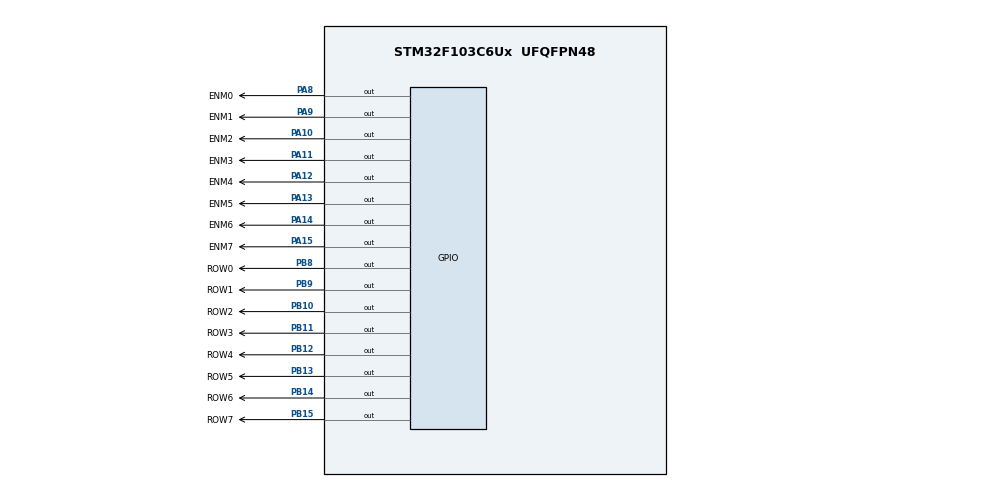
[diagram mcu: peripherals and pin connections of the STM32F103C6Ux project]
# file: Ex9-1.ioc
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Mcu.Family=STM32F1
Mcu.Name=STM32F103C6Ux
Mcu.Package=UFQFPN48
NVIC.PriorityGroup=NVIC_PRIORITYGROUP_4
NVIC.TIM2_IRQn=true\:0\:0\:false\:false\:true\:true\:true
PA10.GPIO_Label=ENM2
PA10.Signal=GPIO_Output
PA11.GPIO_Label=ENM3
PA11.Signal=GPIO_Output
PA12.GPIO_Label=ENM4
PA12.Signal=GPIO_Output
PA13.GPIO_Label=ENM5
PA13.Signal=GPIO_Output
PA14.GPIO_Label=ENM6
PA14.Signal=GPIO_Output
PA15.GPIO_Label=ENM7
PA15.Signal=GPIO_Output
PA8.GPIO_Label=ENM0
PA8.Signal=GPIO_Output
PA9.GPIO_Label=ENM1
PA9.Signal=GPIO_Output
PB10.GPIO_Label=ROW2
PB10.Signal=GPIO_Output
PB11.GPIO_Label=ROW3
PB11.Signal=GPIO_Output
PB12.GPIO_Label=ROW4
PB12.Signal=GPIO_Output
PB13.GPIO_Label=ROW5
PB13.Signal=GPIO_Output
PB14.GPIO_Label=ROW6
PB14.Signal=GPIO_Output
PB15.GPIO_Label=ROW7
PB15.Signal=GPIO_Output
PB8.GPIO_Label=ROW0
PB8.Signal=GPIO_Output
PB9.GPIO_Label=ROW1
PB9.Signal=GPIO_Output
ProjectManager.HeapSize=0x200
ProjectManager.StackSize=0x400
ProjectManager.TargetToolchain=STM32CubeIDE
RCC.APB1Freq_Value=8000000
RCC.APB2Freq_Value=8000000
TIM2.Period=9
TIM2.Prescaler=7999
VP_SYS_VS_ND.Mode=No_Debug
VP_TIM2_VS_ClockSourceINT.Mode=Internal
board=custom

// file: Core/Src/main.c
/* USER CODE BEGIN Header */
/**
  ******************************************************************************
  * @file           : main.c
  * @brief          : Main program body
  ******************************************************************************
  * @attention
  *
  * <h2><center>&copy; Copyright (c) 2022 STMicroelectronics.
  * All rights reserved.</center></h2>
  *
  * This software component is licensed by ST under BSD 3-Clause license,
  * the "License"; You may not use this file except in compliance with the
  * License. You may obtain a copy of the License at:
  *                        opensource.org/licenses/BSD-3-Clause
  *
  ******************************************************************************
  */
/* USER CODE END Header */
#include "main.h"

/* USER CODE BEGIN Includes */
#include "software_timer.h"
/* USER CODE END Includes */

TIM_HandleTypeDef htim2;

void SystemClock_Config(void);
static void MX_GPIO_Init(void);
static void MX_TIM2_Init(void);

/* USER CODE BEGIN 0 */
  int index_matrix =0;
  uint8_t matrix_buffer[8] = {0x18 , 0x3c , 0x66 , 0x66 , 0x7e , 0x7e , 0x66 , 0x66};
  void updateLEDMatrix(int index){
	  switch (index){
	  case 0:
		  HAL_GPIO_WritePin(GPIOB, ROW7_Pin , 1);
		  HAL_GPIO_WritePin(GPIOB, ROW0_Pin , 0);
		  HAL_GPIO_WritePin(GPIOA, (uint16_t)(~matrix_buffer[index])<<8 , 1);
		  HAL_GPIO_WritePin(GPIOA, (uint16_t)matrix_buffer[index]<<8 , 0);
	  	  break;
	  case 1:
		  HAL_GPIO_WritePin(GPIOB, ROW0_Pin, 1);
		  HAL_GPIO_WritePin(GPIOB, ROW1_Pin, 0);
		  HAL_GPIO_WritePin(GPIOA, (uint16_t)(~matrix_buffer[index])<<8 , 1);
		  HAL_GPIO_WritePin(GPIOA, (uint16_t)matrix_buffer[index]<<8 , 0);
		  break;
	  case 2:
		  HAL_GPIO_WritePin(GPIOB, ROW1_Pin, 1);
		  HAL_GPIO_WritePin(GPIOB, ROW2_Pin, 0);
		  HAL_GPIO_WritePin(GPIOA, (uint16_t)(~matrix_buffer[index])<<8 , 1);
		  HAL_GPIO_WritePin(GPIOA, (uint16_t)matrix_buffer[index]<<8 , 0);
		  break;
	  case 3:
		  HAL_GPIO_WritePin(GPIOB, ROW2_Pin, 1);
		  HAL_GPIO_WritePin(GPIOB, ROW3_Pin, 0);
		  HAL_GPIO_WritePin(GPIOA, (uint16_t)(~matrix_buffer[index])<<8 , 1);
		  HAL_GPIO_WritePin(GPIOA, (uint16_t)matrix_buffer[index]<<8 , 0);
		  break;
	  case 4:
		  HAL_GPIO_WritePin(GPIOB, ROW3_Pin, 1);
		  HAL_GPIO_WritePin(GPIOB, ROW4_Pin, 0);
		  HAL_GPIO_WritePin(GPIOA, (uint16_t)(~matrix_buffer[index])<<8 , 1);
		  HAL_GPIO_WritePin(GPIOA, (uint16_t)matrix_buffer[index]<<8 , 0);
		  break;
	  case 5:
		  HAL_GPIO_WritePin(GPIOB, ROW4_Pin, 1);
		  HAL_GPIO_WritePin(GPIOB, ROW5_Pin, 0);
		  HAL_GPIO_WritePin(GPIOA, (uint16_t)(~matrix_buffer[index])<<8 , 1);
		  HAL_GPIO_WritePin(GPIOA, (uint16_t)matrix_buffer[index]<<8 , 0);
		  break;
	  case 6:
		  HAL_GPIO_WritePin(GPIOB, ROW5_Pin, 1);
		  HAL_GPIO_WritePin(GPIOB, ROW6_Pin, 0);
		  HAL_GPIO_WritePin(GPIOA, (uint16_t)(~matrix_buffer[index])<<8 , 1);
		  HAL_GPIO_WritePin(GPIOA, (uint16_t)matrix_buffer[index]<<8 , 0);
		  break;
	  case 7:
		  HAL_GPIO_WritePin(GPIOB, ROW6_Pin, 1);
		  HAL_GPIO_WritePin(GPIOB, ROW7_Pin, 0);
		  HAL_GPIO_WritePin(GPIOA, (uint16_t)(~matrix_buffer[index])<<8 , 1);
		  HAL_GPIO_WritePin(GPIOA, (uint16_t)matrix_buffer[index]<<8 , 0);
		  break;
	  default:
		  break;
	  }
  }
/* USER CODE END 0 */

int main(void)
{

  /* MCU Configuration--------------------------------------------------------*/

  /* Reset of all peripherals, Initializes the Flash interface and the Systick. */
  HAL_Init();

  /* Configure the system clock */
  SystemClock_Config();

  /* Initialize all configured peripherals */
  MX_GPIO_Init();
  MX_TIM2_Init();
  /* USER CODE BEGIN 2 */
  HAL_TIM_Base_Start_IT(&htim2);

  setTimer1(5);
  /* USER CODE END 2 */

  /* Infinite loop */
  while (1)
  {
	  if (timer1_flag == 1){
		  setTimer1(10);
		  updateLEDMatrix(index_matrix);
		  if (index_matrix == 7) index_matrix =0;
		  else index_matrix ++;
	  }
  }
}

void SystemClock_Config(void)
{
  RCC_OscInitTypeDef RCC_OscInitStruct = {0};
  RCC_ClkInitTypeDef RCC_ClkInitStruct = {0};

  /** Initializes the RCC Oscillators according to the specified parameters
  * in the RCC_OscInitTypeDef structure.
  */
  RCC_OscInitStruct.OscillatorType = RCC_OSCILLATORTYPE_HSI;
  RCC_OscInitStruct.HSIState = RCC_HSI_ON;
  RCC_OscInitStruct.HSICalibrationValue = RCC_HSICALIBRATION_DEFAULT;
  RCC_OscInitStruct.PLL.PLLState = RCC_PLL_NONE;
  if (HAL_RCC_OscConfig(&RCC_OscInitStruct) != HAL_OK)
  {
    Error_Handler();
  }
  /** Initializes the CPU, AHB and APB buses clocks
  */
  RCC_ClkInitStruct.ClockType = RCC_CLOCKTYPE_HCLK|RCC_CLOCKTYPE_SYSCLK
                              |RCC_CLOCKTYPE_PCLK1|RCC_CLOCKTYPE_PCLK2;
  RCC_ClkInitStruct.SYSCLKSource = RCC_SYSCLKSOURCE_HSI;
  RCC_ClkInitStruct.AHBCLKDivider = RCC_SYSCLK_DIV1;
  RCC_ClkInitStruct.APB1CLKDivider = RCC_HCLK_DIV1;
  RCC_ClkInitStruct.APB2CLKDivider = RCC_HCLK_DIV1;

  if (HAL_RCC_ClockConfig(&RCC_ClkInitStruct, FLASH_LATENCY_0) != HAL_OK)
  {
    Error_Handler();
  }
}

static void MX_TIM2_Init(void)
{

  TIM_ClockConfigTypeDef sClockSourceConfig = {0};
  TIM_MasterConfigTypeDef sMasterConfig = {0};

  htim2.Instance = TIM2;
  htim2.Init.Prescaler = 7999;
  htim2.Init.CounterMode = TIM_COUNTERMODE_UP;
  htim2.Init.Period = 9;
  htim2.Init.ClockDivision = TIM_CLOCKDIVISION_DIV1;
  htim2.Init.AutoReloadPreload = TIM_AUTORELOAD_PRELOAD_DISABLE;
  if (HAL_TIM_Base_Init(&htim2) != HAL_OK)
  {
    Error_Handler();
  }
  sClockSourceConfig.ClockSource = TIM_CLOCKSOURCE_INTERNAL;
  if (HAL_TIM_ConfigClockSource(&htim2, &sClockSourceConfig) != HAL_OK)
  {
    Error_Handler();
  }
  sMasterConfig.MasterOutputTrigger = TIM_TRGO_RESET;
  sMasterConfig.MasterSlaveMode = TIM_MASTERSLAVEMODE_DISABLE;
  if (HAL_TIMEx_MasterConfigSynchronization(&htim2, &sMasterConfig) != HAL_OK)
  {
    Error_Handler();
  }

}

static void MX_GPIO_Init(void)
{
  GPIO_InitTypeDef GPIO_InitStruct = {0};

  /* GPIO Ports Clock Enable */
  __HAL_RCC_GPIOB_CLK_ENABLE();
  __HAL_RCC_GPIOA_CLK_ENABLE();

  /*Configure GPIO pin Output Level */
  HAL_GPIO_WritePin(GPIOB, ROW2_Pin|ROW3_Pin|ROW4_Pin|ROW5_Pin
                          |ROW6_Pin|ROW7_Pin|ROW0_Pin|ROW1_Pin, GPIO_PIN_RESET);

  /*Configure GPIO pin Output Level */
  HAL_GPIO_WritePin(GPIOA, ENM0_Pin|ENM1_Pin|ENM2_Pin|ENM3_Pin
                          |ENM4_Pin|ENM5_Pin|ENM6_Pin|ENM7_Pin, GPIO_PIN_RESET);

  /*Configure GPIO pins : ROW2_Pin ROW3_Pin ROW4_Pin ROW5_Pin
                           ROW6_Pin ROW7_Pin ROW0_Pin ROW1_Pin */
  GPIO_InitStruct.Pin = ROW2_Pin|ROW3_Pin|ROW4_Pin|ROW5_Pin
                          |ROW6_Pin|ROW7_Pin|ROW0_Pin|ROW1_Pin;
  GPIO_InitStruct.Mode = GPIO_MODE_OUTPUT_PP;
  GPIO_InitStruct.Pull = GPIO_NOPULL;
  GPIO_InitStruct.Speed = GPIO_SPEED_FREQ_LOW;
  HAL_GPIO_Init(GPIOB, &GPIO_InitStruct);

  /*Configure GPIO pins : ENM0_Pin ENM1_Pin ENM2_Pin ENM3_Pin
                           ENM4_Pin ENM5_Pin ENM6_Pin ENM7_Pin */
  GPIO_InitStruct.Pin = ENM0_Pin|ENM1_Pin|ENM2_Pin|ENM3_Pin
                          |ENM4_Pin|ENM5_Pin|ENM6_Pin|ENM7_Pin;
  GPIO_InitStruct.Mode = GPIO_MODE_OUTPUT_PP;
  GPIO_InitStruct.Pull = GPIO_NOPULL;
  GPIO_InitStruct.Speed = GPIO_SPEED_FREQ_LOW;
  HAL_GPIO_Init(GPIOA, &GPIO_InitStruct);

}

/* USER CODE BEGIN 4 */
void HAL_TIM_PeriodElapsedCallback(TIM_HandleTypeDef *htim){
	timerRun();
}
/* USER CODE END 4 */

void Error_Handler(void)
{
  __disable_irq();
  while (1)
  {
  }
}

/************************ (C) COPYRIGHT STMicroelectronics *****END OF FILE****/
